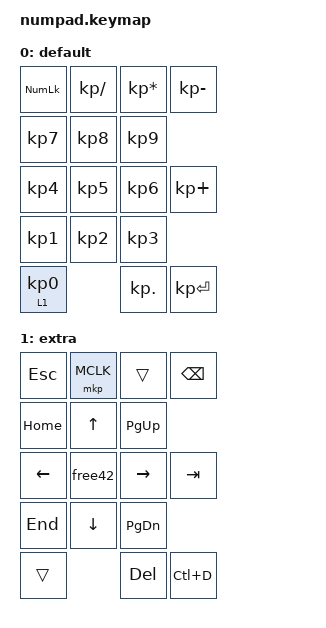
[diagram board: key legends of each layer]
#include <behaviors.dtsi>
#include <dt-bindings/zmk/keys.h>
#include <dt-bindings/zmk/pointing.h>

/ {
    macros {
        free42: free42 {
            compatible = "zmk,behavior-macro";
            #binding-cells = <0>;
            bindings =
                <&macro_press &kp LALT>,
                <&macro_tap &kp P>,
                <&macro_release &kp LALT>,
                <&macro_tap &kp F &kp R &kp E &kp E &kp N4 &kp N2 &kp ENTER>;

            label = "FREE42";
        };
    };

    keymap {
        compatible = "zmk,keymap";

        default {
            bindings = <
  &kp KP_NLCK  &kp KP_DIVIDE  &kp KP_MULTIPLY  &kp KP_MINUS
  &kp KP_N7    &kp KP_N8      &kp KP_N9
  &kp KP_N4    &kp KP_N5      &kp KP_N6        &kp KP_PLUS
  &kp KP_N1    &kp KP_N2      &kp KP_N3
  &lt 1 KP_N0                 &kp KP_DOT       &kp KP_ENTER
            >;
        };

        extra {
            bindings = <
  &kp ESC   &mkp MCLK     &trans         &kp BACKSPACE
  &kp HOME  &kp UP_ARROW  &kp PG_UP
  &kp LEFT  &free42       &kp RIGHT      &kp TAB
  &kp END   &kp DOWN      &kp PAGE_DOWN
  &trans                  &kp DEL        &kp LC(D)
            >;
        };
    };
};
